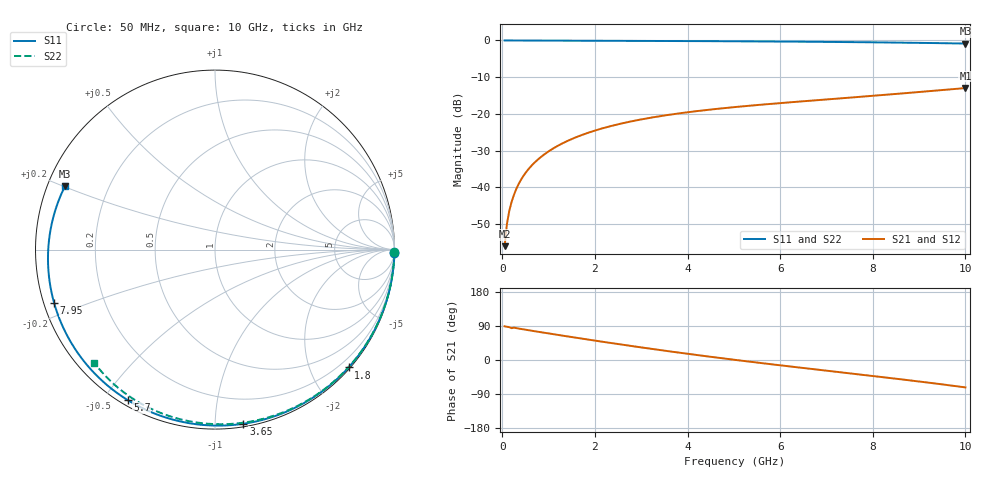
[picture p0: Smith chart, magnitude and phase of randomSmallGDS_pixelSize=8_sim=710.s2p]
! freq	dB(S11)	phase(S11)	dB(S12)	phase(S12)
!  dB(S21)	phase(S21)	dB(S22)	phase(S22)
!S-par simulation data
#  GHz  S  DB  R 50
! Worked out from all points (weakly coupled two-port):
!   200 points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, 50 MHz to 10 GHz, reference 50 ohm
!   highest |S21| = -12.97 dB at 10 GHz (marker M1); lowest = -56.0 dB at 50 MHz (marker M2)
!   lowest |S11| = -0.8 dB at 10 GHz (marker M3), VSWR 20.65, Z = 2.52 + j10.1 ohm
!   |S11| at or under -10 dB: nowhere
!   |S22| runs from -0.7 to 0.0 dB; largest |S21 - S12| = 0
!   S11 on the Smith chart (normalised r, x): 50 MHz: 0, -97; 1.8 GHz: 0.03, -2.64; 3.65 GHz: 0.02, -1.18; 5.7 GHz: 0.02, -0.58; 7.95 GHz: 0.03, -0.16; 10 GHz: 0.05, +0.20
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0.05  -0.00 -1.2  -56.03 88.9  -56.03 88.9  -0.00 -0.8
0.1  -0.00 -2.4  -50.01 87.8  -50.01 87.8  -0.00 -1.6
0.15  -0.00 -3.5  -46.49 86.6  -46.49 86.6  -0.00 -2.4
0.2  -0.01 -4.7  -44.00 83.9  -44.00 83.9  -0.00 -3.2
0.35  -0.01 -8.2  -39.18 83.0  -39.18 83.0  -0.01 -5.6
0.5  -0.02 -11.7  -36.11 79.9  -36.11 79.9  -0.01 -8.0
0.7  -0.02 -16.4  -33.23 75.9  -33.23 75.9  -0.02 -11.2
1  -0.03 -23.3  -30.21 70.1  -30.21 70.1  -0.02 -15.9
1.35  -0.05 -31.3  -27.71 63.4  -27.71 63.4  -0.03 -21.5
1.75  -0.06 -40.3  -25.60 55.8  -25.60 55.8  -0.05 -27.7
1.8  -0.06 -41.4  -25.38 54.9  -25.38 54.9  -0.05 -28.5
2.6  -0.10 -58.9  -22.55 40.3  -22.55 40.3  -0.08 -40.7
3.4  -0.13 -75.7  -20.64 26.4  -20.64 26.4  -0.11 -52.5
3.65  -0.15 -80.7  -20.16 22.2  -20.16 22.2  -0.12 -56.1
4.35  -0.18 -94.6  -19.03 10.8  -19.03 10.8  -0.15 -66.1
5.05  -0.23 -108.0  -18.11 -0.0  -18.11 -0.0  -0.18 -75.7
5.7  -0.27 -120.2  -17.38 -9.7  -17.38 -9.7  -0.22 -84.4
6.7  -0.36 -138.5  -16.36 -23.9  -16.36 -23.9  -0.28 -97.2
7.95  -0.50 -161.5  -15.13 -41.5  -15.13 -41.5  -0.40 -112.6
8.35  -0.55 -169.1  -14.72 -47.2  -14.72 -47.2  -0.45 -117.5
9.2  -0.69 174.1  -13.83 -59.7  -13.83 -59.7  -0.57 -127.5
10  -0.84 157.2  -12.97 -72.3  -12.97 -72.3  -0.71 -136.9
